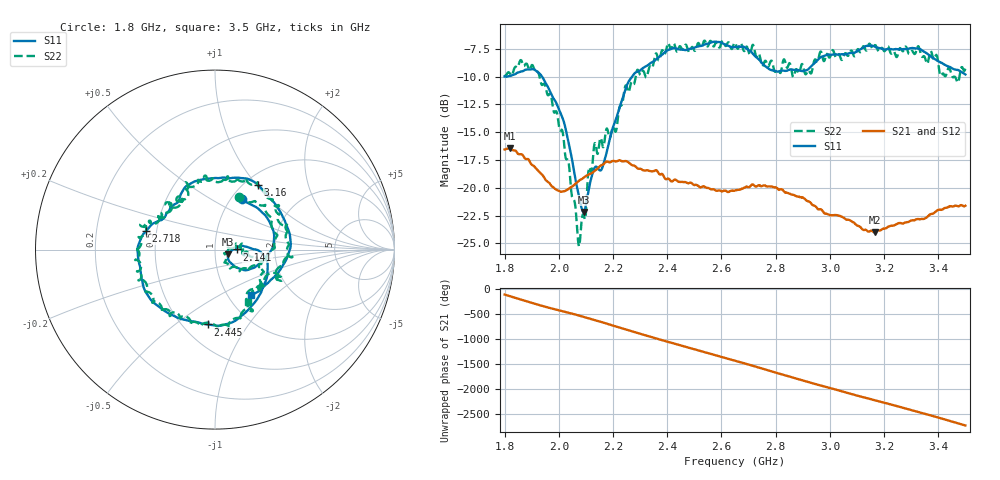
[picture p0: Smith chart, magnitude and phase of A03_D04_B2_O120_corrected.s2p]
! Created with skrf 1.9.0 (http://scikit-rf.org).
# Hz S RI R 50.0
!freq ReS11 ImS11 ReS21 ImS21 ReS12 ImS12 ReS22 ImS22
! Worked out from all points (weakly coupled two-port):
!   1601 points, 1.8 GHz to 3.5 GHz, reference 50 ohm
!   highest |S21| = -16.46 dB at 1.818 GHz (marker M1); lowest = -24.0 dB at 3.165 GHz (marker M2)
!   lowest |S11| = -22.2 dB at 2.092 GHz (marker M3), VSWR 1.17, Z = 57.8 - j3.05 ohm
!   |S11| at or under -10 dB: 1.802 GHz to 1.811 GHz (9.392 MHz wide, 0.52 % of centre); 1.938 GHz to 2.271 GHz (332.5 MHz wide, 15.8 % of centre)
!   |S22| runs from -25.3 to -6.7 dB; largest |S21 - S12| = 0.0025
!   S11 on the Smith chart (normalised r, x): 1.8 GHz: 1.12, +0.70; 2.141 GHz: 1.28, +0.00; 2.445 GHz: 0.66, -0.67; 2.718 GHz: 0.44, +0.11; 3.16 GHz: 1.14, +1.02; 3.5 GHz: 1.28, -0.72
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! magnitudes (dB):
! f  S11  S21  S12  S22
! 1.8 GHz  -10.0  -16.6  -16.6  -9.8
! 1.818 GHz  -10.0  -16.5  -16.5  -9.7
! 1.903 GHz  -9.3  -18.0  -18.0  -9.0
! 1.968 GHz  -11.4  -19.7  -19.7  -11.6
! 2.015 GHz  -13.8  -20.3  -20.4  -15.0
! 2.072 GHz  -20.5  -19.4  -19.4  -25.0
! 2.084 GHz  -21.8  -19.2  -19.2  -23.1
! 2.092 GHz  -22.2  -19.1  -19.1  -22.5
! 2.112 GHz  -19.9  -18.8  -18.8  -18.2
! 2.141 GHz  -18.2  -18.3  -18.3  -16.9
! 2.209 GHz  -14.0  -17.6  -17.6  -15.0
! 2.258 GHz  -10.4  -17.7  -17.7  -11.4
! 2.367 GHz  -8.3  -18.7  -18.6  -8.5
! 2.445 GHz  -7.6  -19.5  -19.5  -7.3
! 2.65 GHz  -7.3  -20.2  -20.2  -7.0
! 2.718 GHz  -8.0  -19.7  -19.7  -7.2
! 2.802 GHz  -9.5  -20.0  -20.0  -9.5
! 2.934 GHz  -9.0  -21.5  -21.4  -9.5
! 3.16 GHz  -7.2  -24.0  -23.9  -7.4
! 3.165 GHz  -7.3  -24.0  -24.0  -7.2
! 3.217 GHz  -7.5  -23.5  -23.4  -7.4
! 3.5 GHz  -9.8  -21.6  -21.6  -9.3
